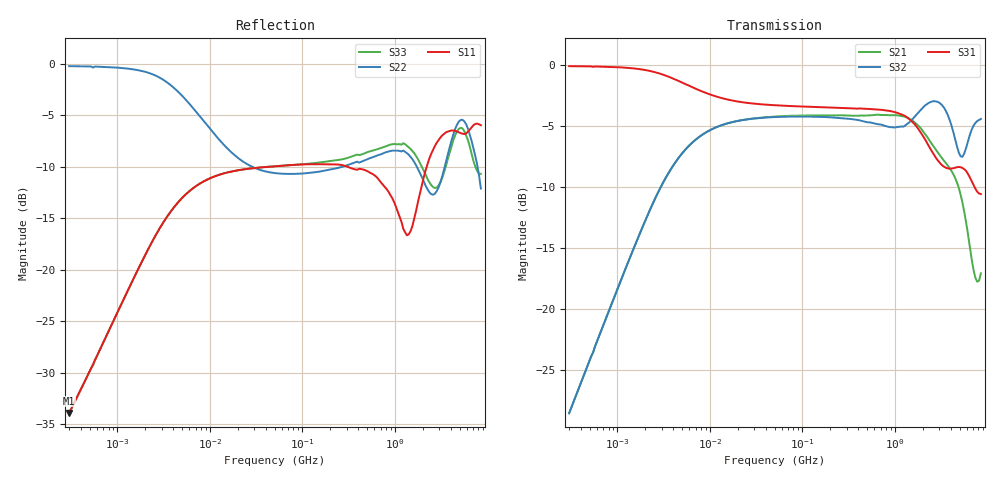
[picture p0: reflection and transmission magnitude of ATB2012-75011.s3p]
! S-parameter Generated by TDK Corporation
! Copyright(C) 2015 TDK Corporation.
! All Rights Reserved.
! TDK P/N: ATB2012-75011 (Balun Transformers)
! Property: UnBal. : Bal. = 75ohm : 75ohm
! Size(LxWxT): 2x1.2x1.2mm, 0.079x0.047x0.047inches
! Model Type: s3p (Touchstone File Format Version 1.0)
! Frequency: DC=Yes Start=0.3MHz Stop=8500MHz 225points Log-sweep
! Note:
! Model Generated on Jun. 23, 2015
! Hash(MD5):
! Port Assignments:
!  1 ---@@@--- 3
! GND---@@@--- 2
! Applicable Conditions:
!  Temperature = 25 degC
!  DC Bias Current = 0 A
!  Small Signal Operation
! Terms and conditions regarding TDK Simulation Models
! (1)This simulation model is being provided solely for informational purposes. Please refer to the specifications of the products in terms of detailed characteristics of such products.
! (2)In no event shall TDK Corporation of any of its subsidiaries be liable for any loss or damage arising, directly or indirectly,
!  From any information contained in this simulation model, including, but not limited to loss or damages arising from any inaccuracies, omissions or errors in connection with such information.
! (3)Any and all copyrights on this simulation model are owned by TDK Corporation.
!  Duplication or redistribution of this simulation model without prior written permission from TDK Corporation is prohibited.
! (4)This simulation model is subject to any modification or change without any prior notice.
! (5)Neither TDK Corporation nor any of its subsidiaries shall make any warranty, express or implied,
!  Including but not limited to the correctness, implied warranties of merchantability and fitness for a particular purpose with respect to this simulation models.
! (6)The use of this simulation model shall be deemed to have consented to the terms and conditions hereof.
# MHz S MA R 50
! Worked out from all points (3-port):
!   224 points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, 300 kHz to 8.5 GHz, reference 50 ohm
!   strongest paths, dB at 300 kHz, 3.937 MHz, 51.67 MHz, 678.1 MHz, 8.5 GHz:
!     S31: -0.1, -1.1, -3.3, -3.6, -10.6
!     S32: -28.6, -8.3, -4.2, -4.8, -4.4
!     S21: -28.6, -8.3, -4.2, -4.1, -17.1
!   lowest |S11| = -33.9 dB at 300 kHz (marker M1), VSWR 1.04, Z = 50.7 + j1.9 ohm
!   |S11| at or under -10 dB: start of sweep to 42.37 MHz; 308 MHz to 2.206 GHz (1.898 GHz wide, 151 % of centre)
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0.3  0.02018 68.3  0.03747 -93.7  0.992 -1.0
     0.03729 -93.8  0.9748 175.7  0.03723 86.2
     0.9934 -1.1  0.03722 86.3  0.02007 68.6
1.569921  0.09499 69.2  0.1852 -107.1  0.9705 -5.3
          0.1852 -107.2  0.9369 157.8  0.1852 72.9
          0.9706 -5.4  0.1851 72.9  0.09492 69.4
4.519427  0.2125 45.5  0.4147 -133.3  0.8658 -10.3
          0.4145 -133.4  0.7328 124.1  0.4146 46.9
          0.8658 -10.4  0.4145 46.8  0.2125 45.9
13.01035  0.2906 20.1  0.5668 -159.7  0.7367 -8.8
          0.5662 -159.7  0.4212 79.0  0.5663 20.9
          0.7369 -8.9  0.5664 20.8  0.2907 21.3
51.67171  0.3186 3.8  0.6173 -176.9  0.6862 -5.9
          0.6171 -176.9  0.2944 30.8  0.6148 5.2
          0.6861 -6.0  0.6143 5.2  0.3184 8.1
678.1388  0.2718 -45.6  0.6273 142.1  0.6584 -37.1
          0.6273 142.1  0.3615 8.0  0.5732 -3.0
          0.6581 -37.1  0.5729 -3.2  0.3879 3.7
1780.71  0.2151 147.0  0.5672 78.6  0.5506 -100.8
         0.5667 78.5  0.3076 -14.0  0.6403 1.2
         0.5502 -100.9  0.6399 1.2  0.3438 -18.8
3091.568  0.4378 57.0  0.4259 22.9  0.3963 -166.4
          0.4254 22.8  0.2644 7.3  0.6985 -17.0
          0.3959 -166.4  0.6981 -17.0  0.2653 -4.5
5367.404  0.4587 -1.2  0.2741 -67.5  0.3794 95.3
          0.2736 -67.6  0.5355 -21.7  0.4218 -15.8
          0.3792 95.1  0.4215 -15.9  0.4863 -23.3
8500  0.5034 -20.5  0.1401 157.6  0.2961 7.5
      0.14 157.4  0.2479 -57.8  0.6057 -25.7
      0.2961 7.3  0.6032 -25.8  0.2923 -56.8
